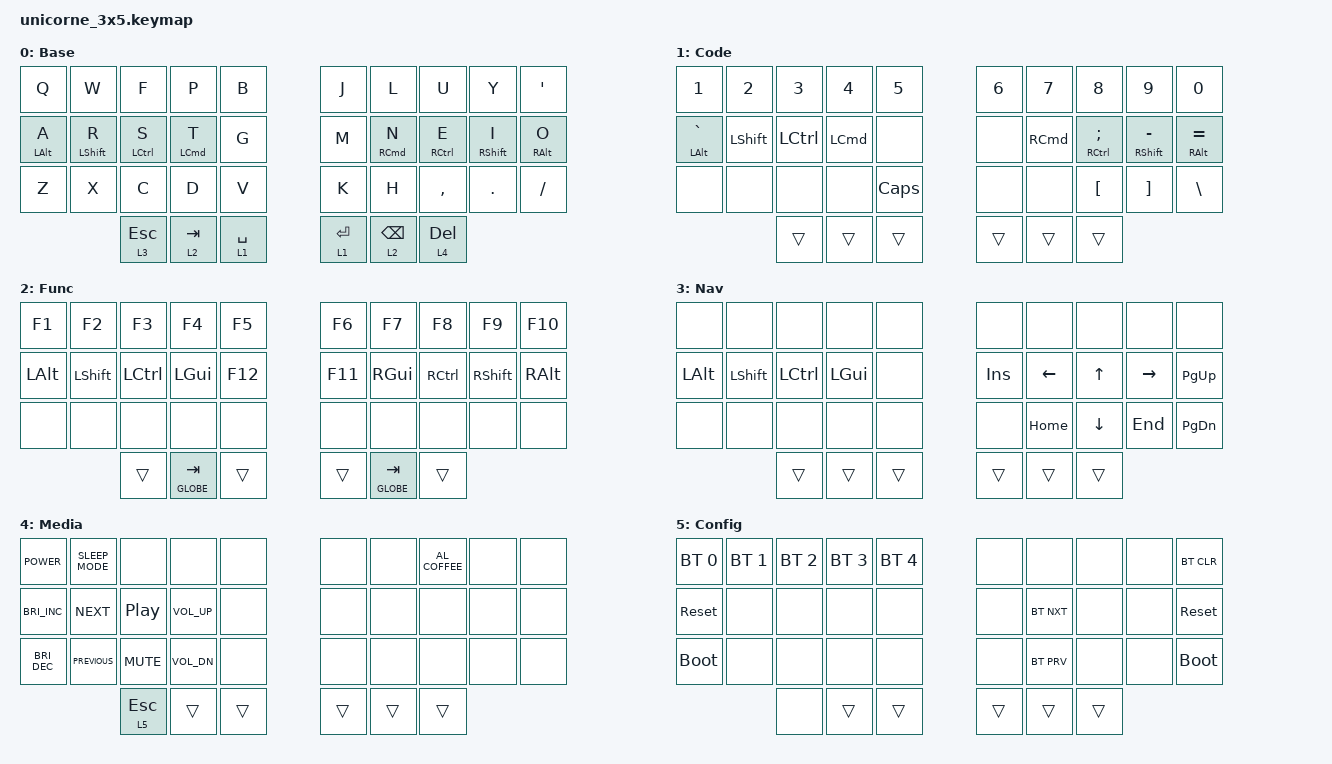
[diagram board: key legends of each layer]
#include <behaviors.dtsi>
#include <dt-bindings/zmk/keys.h>
#include <dt-bindings/zmk/bt.h>

// dt-formatter: indent = "  "
// dt-formatter: multilineIntegerCellsIndent = "reindent"
// dt-formatter: multilineListCommaStyle = "leading"

nice_view_spi: &spi0 {
    cs-gpios = <&pro_micro 10 GPIO_ACTIVE_HIGH>;
};


/ {
  behaviors {
    hm: homewrow_mods {
      compatible = "zmk,behavior-hold-tap";
      #binding-cells = <2>;
      flavor = "tap-preferred";
      tapping-term-ms = <200>;
      quick-tap-ms = <0>;
      bindings = <&kp>, <&kp>;
    };
  };

  keymap {
    compatible = "zmk,keymap";

    base {
      display-name = "Base";
      bindings = <
        // col 0     // col 1      // col 2      // col 3     // col 4      // col 5   // col 6         // col 7      // col 8      // col 9
        &kp Q        &kp W         &kp F         &kp P        &kp B         &kp J      &kp L            &kp U         &kp Y         &kp SQT
        &hm LALT A   &hm LSHFT R   &hm LCTRL S   &hm LCMD T   &kp G         &kp M      &hm RCMD N       &hm RCTRL E   &hm RSHFT I   &hm RALT O 
        &kp Z        &kp X         &kp C         &kp D        &kp V         &kp K      &kp H            &kp COMMA     &kp DOT       &kp FSLH
                                   &lt 3 ESC    &lt 2 TAB   &lt 1 SPACE  &lt 1 RET &lt 2 BACKSPACE &lt 4 DEL
      >;
    };

    code_layer {
      display-name = "Code";
      bindings = <
        &kp N1           &kp N2     &kp N3     &kp N4    &kp N5       &kp N6  &kp N7    &kp N8            &kp N9             &kp N0
        &hm LALT GRAVE   &kp LSHFT  &kp LCTRL  &kp LCMD  &none        &none   &kp RCMD  &hm RCTRL SEMI    &hm RSHFT MINUS    &hm RALT EQUAL 
        &none            &none      &none      &none     &kp CAPS     &none   &none     &kp LEFT_BRACKET  &kp RIGHT_BRACKET  &kp BACKSLASH
                                    &trans     &trans    &trans       &trans  &trans    &trans
      >;
    };

    func_layer {
      display-name = "Func";
      bindings = <
        &kp F1    &kp F2     &kp F3     &kp F4          &kp F5           &kp F6   &kp F7          &kp F8     &kp F9     &kp F10
        &kp LALT  &kp LSHFT  &kp LCTRL  &kp LGUI        &kp F12          &kp F11  &kp RGUI        &kp RCTRL  &kp RSHFT  &kp RALT
        &none     &none      &none      &none           &none            &none    &none           &none      &none      &none
                             &trans     &hm GLOBE TAB   &trans           &trans   &hm GLOBE TAB   &trans
      >;
    };

    nav_layer {
      display-name = "Nav";
      bindings = <
        // col 0  // col 1   // col 2   // col 3  // col 4    // col 5  // col 6  // col 7  // col 8   // col 9
        &none     &none      &none      &none     &none       &none     &none     &none     &none      &none
        &kp LALT  &kp LSHFT  &kp LCTRL  &kp LGUI  &none       &kp INS   &kp LEFT  &kp UP    &kp RIGHT  &kp PAGE_UP
        &none     &none      &none      &none     &none       &none     &kp HOME  &kp DOWN  &kp END    &kp PAGE_DOWN
                             &trans     &trans    &trans      &trans    &trans    &trans
      >;
    };

    media_layer {
      display-name = "Media";
      bindings = <
        // col 0       // col 1          // col 2    // col 3      // col 4    // col 5  // col 6  // col 7         // col 8    // col 9
        &kp C_POWER    &kp C_SLEEP_MODE  &none       &none         &none       &none     &none     &kp C_AL_COFFEE  &none       &none
        &kp C_BRI_INC  &kp C_NEXT        &kp C_PP    &kp C_VOL_UP  &none       &none     &none     &none            &none       &none
        &kp C_BRI_DEC  &kp C_PREVIOUS    &kp C_MUTE  &kp C_VOL_DN  &none       &none     &none     &none            &none       &none
                                         &lt 5 ESC   &trans        &trans      &trans    &trans    &trans
      >;
    };

    config_layer {
      display-name = "Config";
      bindings = <
        &bt BT_SEL 0 &bt BT_SEL 1 &bt BT_SEL 2 &bt BT_SEL 3 &bt BT_SEL 4      &none       &none        &none       &none       &bt BT_CLR
        &sys_reset   &none        &none        &none        &none             &none       &bt BT_NXT   &none       &none       &sys_reset
        &bootloader  &none        &none        &none        &none             &none       &bt BT_PRV   &none       &none       &bootloader
                                  &none        &trans       &trans            &trans      &trans       &trans
      >;
    };
  };
};
